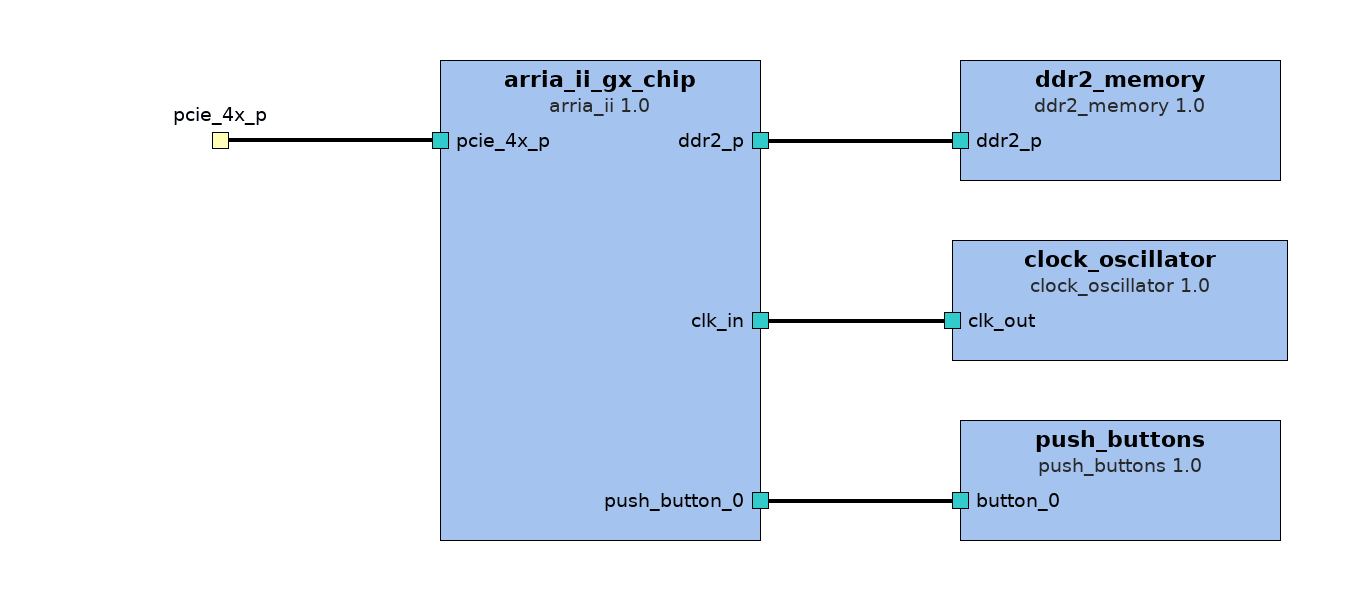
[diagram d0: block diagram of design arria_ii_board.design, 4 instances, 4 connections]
<?xml version="1.0" encoding="UTF-8"?>
<!-- Created by Kactus 2 document generator 13:36:15 ke marras 9 2011 -->
<spirit:design><spirit:vendor>TUT</spirit:vendor><spirit:library>board</spirit:library><spirit:name>arria_ii_board.design</spirit:name><spirit:version>1.0</spirit:version><spirit:componentInstances>
 <spirit:componentInstance><spirit:instanceName>ddr2_memory</spirit:instanceName><spirit:componentRef spirit:vendor="TUT" spirit:library="chip" spirit:name="ddr2_memory" spirit:version="1.0"/></spirit:componentInstance>
 <spirit:componentInstance><spirit:instanceName>clock_oscillator</spirit:instanceName><spirit:componentRef spirit:vendor="TUT" spirit:library="chip" spirit:name="clock_oscillator" spirit:version="1.0"/></spirit:componentInstance>
 <spirit:componentInstance><spirit:instanceName>push_buttons</spirit:instanceName><spirit:componentRef spirit:vendor="TUT" spirit:library="chip" spirit:name="push_buttons" spirit:version="1.0"/></spirit:componentInstance>
 <spirit:componentInstance><spirit:instanceName>arria_ii_gx_chip</spirit:instanceName><spirit:componentRef spirit:vendor="TUT" spirit:library="chip" spirit:name="arria_ii" spirit:version="1.0"/></spirit:componentInstance>
</spirit:componentInstances><spirit:interconnections>
 <spirit:interconnection><spirit:name>arria_ii_gx_chip_push_button_0_to_push_buttons_button_0</spirit:name><spirit:activeInterface spirit:componentRef="arria_ii_gx_chip" spirit:busRef="push_button_0"/><spirit:activeInterface spirit:componentRef="push_buttons" spirit:busRef="button_0"/></spirit:interconnection>
 <spirit:interconnection><spirit:name>arria_ii_gx_chip_ddr2_p_to_ddr2_memory_ddr2_p</spirit:name><spirit:activeInterface spirit:componentRef="arria_ii_gx_chip" spirit:busRef="ddr2_p"/><spirit:activeInterface spirit:componentRef="ddr2_memory" spirit:busRef="ddr2_p"/></spirit:interconnection>
 <spirit:interconnection><spirit:name>arria_ii_gx_chip_clk_in_to_clock_oscillator_clk_out</spirit:name><spirit:activeInterface spirit:componentRef="arria_ii_gx_chip" spirit:busRef="clk_in"/><spirit:activeInterface spirit:componentRef="clock_oscillator" spirit:busRef="clk_out"/></spirit:interconnection>
</spirit:interconnections>
 <spirit:hierConnections><spirit:hierConnection spirit:interfaceRef="pcie_4x_p"><spirit:interface spirit:componentRef="arria_ii_gx_chip" spirit:busRef="pcie_4x_p"/></spirit:hierConnection></spirit:hierConnections>
</spirit:design>

